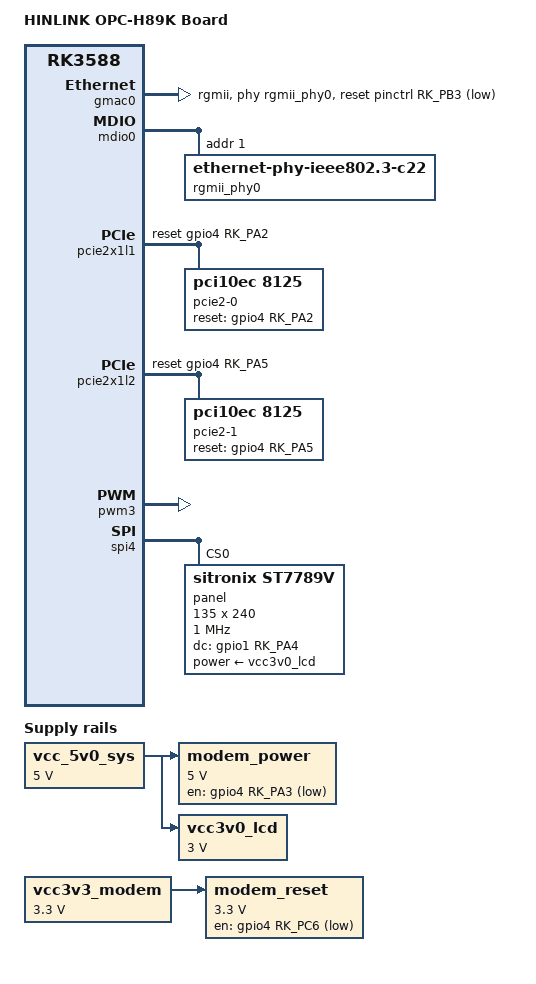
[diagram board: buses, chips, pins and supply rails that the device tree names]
// SPDX-License-Identifier: (GPL-2.0+ OR MIT)
/*
 * HinLink OPC-H89K
 *
 * HinLink 适配 for immortalwrt —— 每机型独立 DTS，不做自适应。
 *
 * ★ 从零移植：H89K 此前在所有 OpenWrt 衍生固件中零适配（2022-2025 年
 *   历次调研均未找到）。本 DTS 全部参数来自厂商 immortalwrt v1.2.2
 *   (2025-06-08) 固件内解出的 dtb（88036 B），逐项核对。
 *
 * 硬件构成（RK3588，厂商 dtb 实证）
 * --------------------------------
 *   网口 = 1×GMAC(fe1b0000, RGMII) + 2×RTL8125 2.5G (PCIe)
 *         GMAC fe1c0000 在厂商 dtb 里 disabled，本机不用。
 *         PCIe 网卡分别挂在 pcie2x1l1(fe180000) 与 pcie2x1l2(fe190000)，
 *         reset 脚分别是 GPIO4_A2 与 GPIO4_A5（高有效）。
 *
 *   厂商 02_network 映射：LAN "eth0 eth1" / WAN "eth2"
 *         ⇒ 板载 RGMII 作WAN（GMAC 节点显式 label = "eth2"）
 *
 *   显示 = ST7789V 135×240 rot90 @spi@fecb0000 (SPI4 m2)
 *          dc-gpios = GPIO1_A4，屏供电 vcc3v0_lcd (3.0V)
 *   风扇 = pwm3(febf0020)
 *   模组 = 4G/5G 供电（GPIO4_A3）与复位（GPIO4_C6）
 *
 *   ★ SATA：厂商 dtb 里 sata0/1/2 三路**均为 disabled**
 *     （combphy 也未使能），本机不接 SATA 座，故本 DTS 不使能 sata。
 *
 *   ★ 屏参数交叉验证（本 DTS 厂商 dtb 实证 ↔ 上游 unifreq PR#19 独立实证）：
 *     项目          厂商 dtb                      上游 rk3588-hlink-h89k.dts
 *     compatible    sitronix,st7789v             sitronix,st7789v            ✓
 *     分辨率        135 × 240(0x87 × 0xf0)        135 × 240                    ✓
 *     rotate        0x5a = 90                    rotate = <90>                ✓
 *     buswidth      8                            buswidth = <8>               ✓
 *     spi-max-freq  1000000 (1 MHz)              1000000                      ✓
 *     dc-gpios      gpio1 pin4 = GPIO1_A4        <&gpio1 RK_PA4 ACTIVE_HIGH>  ✓
 *     CS            spi4m2_cs0 (GPIO1_B3)        &spi4m2_cs0                 ✓
 *     SPI 引脚      GPIO1_B2/C1/D1 (func8)       由 dtsi 提供                  —
 *     x/y-offset    ★ 厂商 dtb 无此属性          40 / 52                      见下
 *
 *     ⇒ 屏驱动型号、分辨率、旋转、总线宽度、频率、DC 脚、CS 六项**双方完全吻合**，
 *       可确认「上游 PR#19 的 H89K 屏配置可信」。
 *
 *   ★ 关于 x-offset=40 / y-offset=52：这是**上游自己加的**，厂商 dtb 里没有。
 *     它对应 fbtft 的 set_addr_win 偏移补偿 —— ST7789V 135×240 面板在
 *     rotate=90 后显存窗口需要平移才能对上实际可见区。
 *     本仓库已有的 `9999-fbtft-adjust-display-offset-for-rotation-h29k-1.14.patch`
 *     正是同一机制（1.14 寸也是 135×240，偏移量 rot90 时同为 xs+=40, ys+=52），
 *     两边数值吻合，可交叉印证。
 *
 *   ⚠️ 上游 PR#19 的 h89k 文件里 `compatible = "hlink,h88k"` 且
 *     `model = "Hlink H88K"` —— 明显是从 h88k-v3 复制粘贴后忘了改，
 *     导致 H89K / H88K / H88K-v3 三者 compatible 完全相同、无法区分。
 *     本 DTS 使用独立 compatible `hinlink,opc-h89k`，勿沿用上游写法。
 *
 * 枚举顺序（immortalwrt 6.18 dtc 顺序）
 * ------------------------------------
 *   GMAC 是 SoC 内部控制器，枚举固定 => eth0
 *   PCIe 网卡按 bus 扫描顺序        => eth1 / eth2
 *
 *   ⚠️ GMAC 节点在厂商 dtb 里 label = "eth2"，与 dtc 枚举的 eth0 不一致。
 *     本方案沿用厂商 02_network 的映射（LAN eth0 eth1 / WAN eth2），
 *     与出厂固件行为一致。
 */

/dts-v1/;

#include <dt-bindings/gpio/gpio.h>
#include <dt-bindings/pinctrl/rockchip.h>

#include "rk3588.dtsi"

/ {
	model = "HINLINK OPC-H89K Board";
	compatible = "hinlink,opc-h89k", "rockchip,rk3588";

	chosen {
		stdout-path = "serial2:1500000n8";
	};

	/* ---- 板载供电（厂商 dtb 的 regulator-fixed 节点） ---- */
	vcc_5v0_sys: vcc-5v0-sys {
		compatible = "regulator-fixed";
		regulator-name = "vcc5v0_sys";
		regulator-always-on;
		regulator-boot-on;
		regulator-min-microvolt = <5000000>;
		regulator-max-microvolt = <5000000>;
	};

	vcc3v3_modem: vcc-3v3-modem {
		compatible = "regulator-fixed";
		regulator-name = "vcc3v3_modem";
		regulator-always-on;
		regulator-boot-on;
		regulator-min-microvolt = <3300000>;
		regulator-max-microvolt = <3300000>;
	};

	/*
	 * ---- 4G / 5G 模组：H89K 的标志性特征 ----
	 *
	 * ★★ 两路独立 IO，缺一不可（参数全部来自厂商 2025 固件 dtb）：
	 *
	 *   modem_power  GPIO4_A3  低有效  **5.0V**  ← 模组主供电开关
	 *       └ vin-supply = vcc_5v0_sys
	 *   modem_reset  GPIO4_C6  低有效  **3.3V**  ← 模组复位（ vin 取 3.3V 轨）
	 *       └ vin-supply = vcc3v3_modem
	 *
	 *⚠️ 与 H29K 的模组 IO **完全相反**，别套用：
	 *     H29K v1.3  模组 power-gpios = GPIO4_B5（一路，模组自己管供电）
	 *     H29K v5    模组不独立控制供电
	 *     H89K       供电(GPIO4_A3/5V) + 复位(GPIO4_C6/3.3V) 两路分开
	 *   套错会导致**模组不上电**或**无法复位**。详见 docs/HARDWARE.md §四。
	 *
	 * ⚠️ 上游 unifreq PR#19 的 rk3588-hlink-h89k.dts 没有这两个节点
	 *    （它整份 DTS 只加了屏和 PCIe 网卡）。本节点来自厂商 dtb 实证。
	 */
	modem_power: modem-power {
		compatible = "regulator-fixed";
		regulator-name = "modem_power";
		regulator-always-on;
		regulator-boot-on;
		regulator-min-microvolt = <5000000>;
		regulator-max-microvolt = <5000000>;
		vin-supply = <&vcc_5v0_sys>;
		gpio = <&gpio4 RK_PA3 GPIO_ACTIVE_LOW>;
	};

	modem_reset: modem-reset {
		compatible = "regulator-fixed";
		regulator-name = "modem_reset";
		regulator-always-on;
		regulator-boot-on;
		regulator-min-microvolt = <3300000>;
		regulator-max-microvolt = <3300000>;
		vin-supply = <&vcc3v3_modem>;
		gpio = <&gpio4 RK_PC6 GPIO_ACTIVE_LOW>;
	};

	/* 屏供电（厂商 dtb 原值 3.0V，always-on） */
	vcc3v0_lcd: vcc3v0-lcd {
		compatible = "regulator-fixed";
		regulator-name = "vcc3v0_lcd";
		regulator-always-on;
		regulator-boot-on;
		regulator-min-microvolt = <3000000>;
		regulator-max-microvolt = <3000000>;
		vin-supply = <&vcc_5v0_sys>;
	};
};

/* ============================================================
 * 网口 1/3：GMAC(RGMII) —— 板载口，厂商标为 WAN
 * ============================================================ */

&gmac0 {
	clock_in_out = "output";
	phy-mode = "rgmii";
	/* 厂商 dtb 原值 */
	tx_delay = <0x42>;
	rx_delay = <0x34>;
	snps,reset-gpio = <&pinctrl RK_PB3 GPIO_ACTIVE_LOW>;
	snps,reset-active-low;
	snps,reset-delays-us = <0 20000 100000>;
	phy-handle = <&rgmii_phy0>;

	pinctrl-names = "default";
	/* 厂商 dtb 原值：GPIO2_A6/A7/B1/B2 数据 + GPIO2_B0/B3 时钟 */
	pinctrl-0 = <&gmac0_miim
		     &gmac0_rgmii_bus
		     &gmac0_rgmii_clk
		     &gmac0_tx_bus2
		     &gmac0_rx_bus2>;

	label = "eth2";
	status = "okay";
};

&gmac1 {
	status = "disabled";
};

&mdio0 {
	rgmii_phy0: ethernet-phy@1 {
		compatible = "ethernet-phy-ieee802.3-c22";
		reg = <0x1>;
	};
};

/* ============================================================
 * 网口 2/3 与 3/3：2×RTL8125 2.5G 走 PCIe
 *   厂商 dtb 在这两个控制器下各挂一个 pci10ec,8125
 * ============================================================ */

/*
 * PCIe 网卡 1（pcie2x1l1 / fe180000）
 * reset = GPIO4_A2，高有效（厂商 dtb 实证）
 */
&pcie2x1l1 {
	reset-gpios = <&gpio4 RK_PA2 GPIO_ACTIVE_HIGH>;
	max-link-speed = <2>;              /* Gen2 = 5 GT/s，厂商原值 */
	status = "okay";

	pcie2-0 {
		compatible = "pci10ec,8125";
		reset-gpios = <&gpio4 RK_PA2 GPIO_ACTIVE_HIGH>;
	};
};

/*
 * PCIe 网卡 2（pcie2x1l2 / fe190000）
 * reset = GPIO4_A5，高有效（厂商 dtb 实证）
 *
 * ★ 更正记录：原来写的 `&gpio5 RK_PA0 GPIO_ACTIVE_LOW` 是**错的** ——
 *   ① RK3588 只有 gpio0..gpio4（6.18 rk3588-base.dtsi 里就这5 个），
 *     `&gpio5` 会因 phandle 找不到而**编译失败**；
 *   ② 厂商 dtb 的 GPIO4_A5 是 **ACTIVE_HIGH**，不是低有效。
 *   厂商 dtb 四路 PCIe 的 reset 全在 GPIO4：
 *     /pcie@fe180000 (pcie2x1l1) → GPIO4_A2  HIGH
 *     /pcie@fe190000 (pcie2x1l2) → GPIO4_A5  HIGH
 *     /pcie@fe150000 (pcie2x1l0) → GPIO4_B6  HIGH   ← WiFi/M.2 位，本机未用
 *     /pcie@fe170000 (pcie3x4)   → GPIO0_B0  HIGH   ← 本机未用
 */
&pcie2x1l2 {
	reset-gpios = <&gpio4 RK_PA5 GPIO_ACTIVE_HIGH>;
	max-link-speed = <2>;
	status = "okay";

	pcie2-1 {
		compatible = "pci10ec,8125";
		reset-gpios = <&gpio4 RK_PA5 GPIO_ACTIVE_HIGH>;
	};
};

/* ============================================================
 * 引脚（全部为厂商 dtb 原值）
 * ============================================================ */

&pinctrl {
	/*
	 * ★ 原 gmac { gmac0_miim / gmac0_rgmii_bus / gmac0_rgmii_clk /
	 *         gmac0_tx_bus2 / gmac0_rx_bus2 } 整段**已删除**。
	 *
	 * 原因（真实编译验证得出）：
	 *   ① 这 5 个标签内核 rk3588-extra-pinctrl.dtsi 里**已经全有**，
	 *      重定义会报 duplicate_label：
	 *        Duplicate label 'gmac0_miim' on /pinctrl/gmac/gmac0-miim
	 *                                        and /pinctrl/gmac0/gmac0-miim
	 *   ② 更关键：我们写的 funct 值是 `RK_FUNC_GPIO`(=0，GPIO 功能)，
	 *      而内核写的是 1（正确的 MDIO/RGMII 功能）：
	 *        内核 gmac0_miim: <4 RK_PC4 1 &pcfg_pull_none>, <4 RK_PC5 1 ...>
	 *        我们   gmac0_miim: <4 RK_PC4 RK_FUNC_GPIO ...>, ...
	 *      funct=0 会让引脚停在 GPIO 功能，MDIO 根本不通。
	 *
	 * 引脚号我们与内核一致（4 RK_PC4 / 4 RK_PC5 等），所以直接引用
	 * 内核的定义即可 —— &gmac0 的 pinctrl-0 不变。
	 */
	led {
		led_work_en: led-work-en {
			rockchip,pins = <0 RK_PA0 RK_FUNC_GPIO &pcfg_pull_none>;
		};
		led_net_en: led-net-en {
			rockchip,pins = <2 RK_PC3 RK_FUNC_GPIO &pcfg_pull_none>;
		};
		led_sata_en: led-sata-en {
			rockchip,pins = <2 RK_PC5 RK_FUNC_GPIO &pcfg_pull_none>;
		};
		led_user_en: led-user-en {
			rockchip,pins = <3 RK_PB7 RK_FUNC_GPIO &pcfg_pull_none>;
		};
	};

	ir {
		ir_int_pin: ir-int-pin {
			rockchip,pins = <0 RK_PD4 RK_FUNC_GPIO &pcfg_pull_up>;
		};
	};

	spi4 {
		lcd_dc_pin: lcd-dc-pin {
			rockchip,pins = <1 RK_PA4 RK_FUNC_GPIO &pcfg_pull_down>;
		};
	};
};

/* ============================================================
 * 板载器件
 * ============================================================ */

/* 风扇 PWM（厂商 dtb 里 pwm@febf0020 为 okay）*/
&pwm3 {
	status = "okay";
};

/* ============================================================
 * 屏：ST7789V 135×240 rot90 走 SPI4 m2
 * 全部为厂商 dtb 原值，并经上游 unifreq PR#19 独立交叉验证
 * ============================================================ */

&spi4 {
	assigned-clocks = <&cru CLK_SPI4>;
	assigned-clock-rates = <200000000>;
	num-cs = <1>;
	pinctrl-names = "default";
	pinctrl-0 = <&spi4m2_pins>, <&spi4m2_cs0>;
	status = "okay";

	panel@0 {
		compatible = "sitronix,st7789v";
		reg = <0>;
		rotate = <90>;
		width = <135>;
		height = <240>;
		buswidth = <8>;
		spi-max-frequency = <1000000>;
		spi-cpol;
		spi-cpha;
		dc-gpios = <&gpio1 RK_PA4 GPIO_ACTIVE_HIGH>;
		pinctrl-names = "default";
		pinctrl-0 = <&lcd_dc_pin>;
		power-supply = <&vcc3v0_lcd>;

		/*
		 * 显示偏移（配合 patches/9999-fbtft-read-display-offset-from-dt.patch）
		 * 数值与 H29K 1.14" 同为 135x240 面板，原厂 1.14" 偏移 patch 适用：
		 *   rotate 90/270  ->  x += 40, y += 52
		 *   rotate 0/180   ->  x += 52, y += 40
		 * 与上游 unifreq PR#19 标注的 40 / 52 一致。
		 * ⚠️ 厂商 dtb 里没有这两个属性，属推断值 —— 需实机确认画面是否完整。
		 */
		x-offset = <40>;
		y-offset = <52>;
		x-offset-0 = <52>;
		y-offset-0 = <40>;
	};
};

/* ============================================================
 * ★ 未配置项（厂商 dtb 中同样未启用，不擅自添加）
 *
 *   SATA  —— 厂商 dtb 里 sata0/1/2 与 combphy 均 disabled，本机无 SATA 座
 *   RTC   —— 厂商 dtb 有 hym8563-int 引脚（GPIO0_B2）但无 rtc 节点
 *   红外  —— 厂商 dtb 有 ir-int-pin（GPIO0_D4）引脚定义，
 *            但未见 gpio-ir-receiver 节点，故本 DTS 不使能
 *
 * ★ 屏的显示偏移：需配合 fbtft 偏移补偿 patch 使用，见文件头注释。
 *   厂商 dtb 的 panel 节点**没有** x-offset/y-offset 属性，
 *   偏移由内核 fbtft 驱动侧硬编码（对应本仓库 patches/ 下 1.14 寸那份）。
 * ============================================================ */
